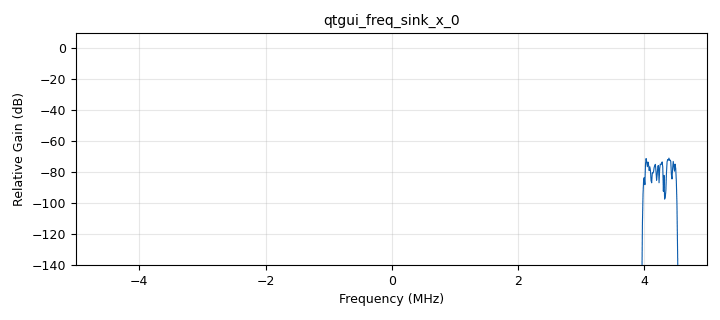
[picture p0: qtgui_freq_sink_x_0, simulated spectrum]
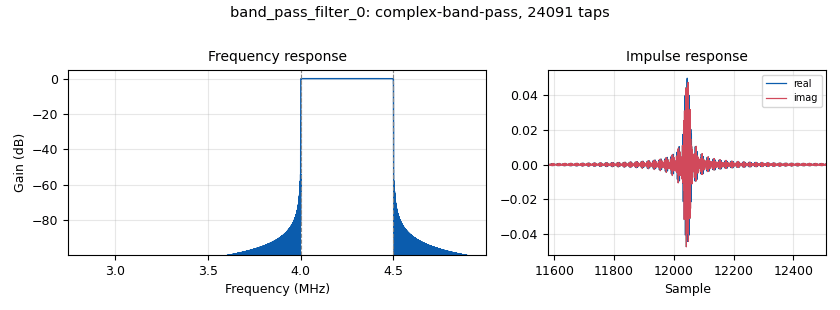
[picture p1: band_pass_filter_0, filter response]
options:
  parameters:
    generate_options: qt_gui
    id: playground
    output_language: python
    title: Playground
  states: {}

blocks:
- name: samp_rate
  id: variable
  parameters:
    value: 1e7
  states: {}
- name: analog_noise_source_x_0
  id: analog_noise_source_x
  parameters:
    amp: '0.01'
    noise_type: analog.GR_GAUSSIAN
    seed: '0'
    type: complex
  states: {}
- name: band_pass_filter_0
  id: band_pass_filter
  parameters:
    decim: '1'
    gain: '1'
    high_cutoff_freq: 4.5e6
    low_cutoff_freq: 4e6
    samp_rate: samp_rate
    type: fir_filter_ccc
    width: '1000'
    win: window.WIN_HAMMING
  states: {}
- name: qtgui_freq_sink_x_0
  id: qtgui_freq_sink_x
  parameters:
    bw: samp_rate
    fc: '0'
    fftsize: '1024'
    type: complex
  states: {}
- name: soapy_hackrf_sink_0_0
  id: soapy_hackrf_sink
  parameters:
    bandwidth: 1e7
    center_freq: 1622e6
    samp_rate: samp_rate
    type: fc32
    vga: '35'
  states: {}

connections:
- [analog_noise_source_x_0, '0', band_pass_filter_0, '0']
- [band_pass_filter_0, '0', qtgui_freq_sink_x_0, '0']
- [band_pass_filter_0, '0', soapy_hackrf_sink_0_0, '0']

metadata:
  file_format: 1
  grc_version: 3.10.12.0
